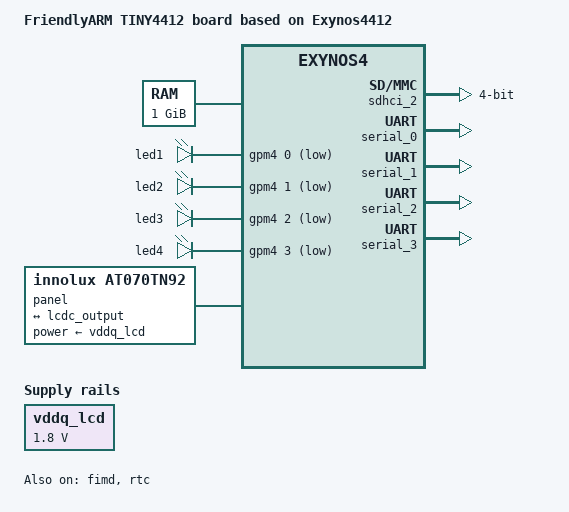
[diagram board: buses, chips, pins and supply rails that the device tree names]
// SPDX-License-Identifier: GPL-2.0
/*
 * FriendlyARM's Exynos4412 based TINY4412 board device tree source
 *
 * Copyright (c) 2013 Alex Ling <kasimling@gmail.com>
 *
 * Device tree source file for FriendlyARM's TINY4412 board which is based on
 * Samsung's Exynos4412 SoC.
 */

/dts-v1/;
#include "exynos4412.dtsi"
#include <dt-bindings/gpio/gpio.h>
#include <dt-bindings/leds/common.h>

/ {
	model = "FriendlyARM TINY4412 board based on Exynos4412";
	compatible = "friendlyarm,tiny4412", "samsung,exynos4412", "samsung,exynos4";

	aliases {
		mmc0 = &sdhci_2;
	};

	chosen {
		stdout-path = &serial_0;
	};

	memory@40000000 {
		device_type = "memory";
		reg = <0x40000000 0x40000000>;
	};

	leds {
		compatible = "gpio-leds";

		led1 {
			label = "led1";
			function = LED_FUNCTION_HEARTBEAT;
			gpios = <&gpm4 0 GPIO_ACTIVE_LOW>;
			default-state = "off";
			linux,default-trigger = "heartbeat";
		};

		led2 {
			label = "led2";
			gpios = <&gpm4 1 GPIO_ACTIVE_LOW>;
			default-state = "off";
		};

		led3 {
			label = "led3";
			gpios = <&gpm4 2 GPIO_ACTIVE_LOW>;
			default-state = "off";
		};

		led4 {
			label = "led4";
			function = LED_FUNCTION_DISK_ACTIVITY;
			gpios = <&gpm4 3 GPIO_ACTIVE_LOW>;
			default-state = "off";
			linux,default-trigger = "mmc0";
		};
	};

	fixed-rate-clocks {
		xxti {
			compatible = "samsung,clock-xxti";
			clock-frequency = <0>;
		};

		xusbxti {
			compatible = "samsung,clock-xusbxti";
			clock-frequency = <24000000>;
		};

		pmic_ap_clk: pmic-ap-clk {
			/* Workaround for missing clock on PMIC */
			compatible = "fixed-clock";
			#clock-cells = <0>;
			clock-frequency = <32768>;
		};
	};

	panel {
		compatible = "innolux,at070tn92";
		power-supply = <&vddq_lcd>;

		port {
			panel_input: endpoint {
				remote-endpoint = <&lcdc_output>;
			};
		};
	};

	vddq_lcd: regulator-vddq-lcd {
		compatible = "regulator-fixed";
		regulator-name = "vddq-lcd";
		regulator-min-microvolt = <1800000>;
		regulator-max-microvolt = <1800000>;
	};
};

&cpu_thermal {
	cooling-maps {
		cooling_map0: map0 {
			/* Corresponds to 800MHz at freq_table */
			cooling-device = <&cpu0 7 7>, <&cpu1 7 7>,
					 <&cpu2 7 7>, <&cpu3 7 7>;
		};
		cooling_map1: map1 {
			/* Corresponds to 200MHz at freq_table */
			cooling-device = <&cpu0 13 13>, <&cpu1 13 13>,
					 <&cpu2 13 13>, <&cpu3 13 13>;
		};
	};
};

&fimd {
	pinctrl-0 = <&lcd_clk>, <&lcd_data24>;
	pinctrl-names = "default";
	#address-cells = <1>;
	#size-cells = <0>;
	status = "okay";

	port@3 {
		reg = <3>;
		lcdc_output: endpoint {
			remote-endpoint = <&panel_input>;
		};
	};
};

&rtc {
	status = "okay";
	clocks = <&clock CLK_RTC>, <&pmic_ap_clk>;
	clock-names = "rtc", "rtc_src";
};

&sdhci_2 {
	bus-width = <4>;
	pinctrl-0 = <&sd2_clk &sd2_cmd &sd2_cd &sd2_bus4>;
	pinctrl-names = "default";
	status = "okay";
};

&serial_0 {
	status = "okay";
};

&serial_1 {
	status = "okay";
};

&serial_2 {
	status = "okay";
};

&serial_3 {
	status = "okay";
};
